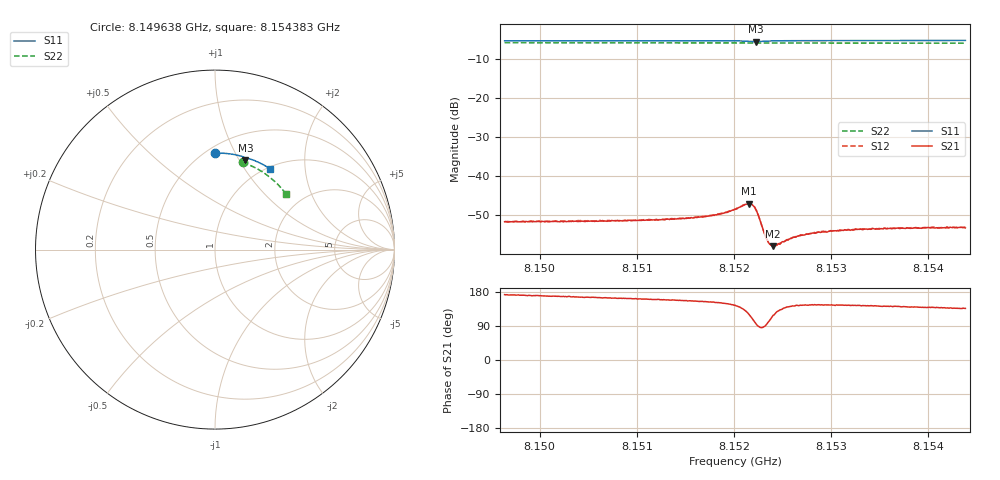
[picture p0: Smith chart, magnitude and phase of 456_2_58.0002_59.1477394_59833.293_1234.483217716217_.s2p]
#  HZ  S  RI  R  50.00
! Rohde & Schwarz Vector Network Analyzer
! Rohde-Schwarz,ZNB20-2Port,1311601062101988,3.16
! Created: UTC 3/21/2024, 1:10:46 AM
! freq[Hz]  re:S11  im:S11  re:S21  im:S21  re:S12  im:S12  re:S22  im:S22
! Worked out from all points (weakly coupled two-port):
!   401 points, 8.149638 GHz to 8.154383 GHz, reference 50 ohm
!   highest |S21| = -46.97 dB at 8.152153 GHz (marker M1); lowest = -57.8 dB at 8.152402 GHz (marker M2)
!   lowest |S11| = -5.6 dB at 8.152224 GHz (marker M3), VSWR 3.23, Z = 38.5 + j53.1 ohm
!   |S11| at or under -10 dB: nowhere
!   |S22| runs from -6.0 to -5.8 dB; largest |S21 - S12| = 0.00012
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8.1496384e9  -0.00101 0.5378  -0.00261 0.000347  -0.00261 0.000404  0.1552 0.4858
8.1504331e9  0.0544 0.5364  -0.0026 0.000647  -0.00259 0.000705  0.2027 0.4667
8.1512278e9  0.1095 0.529  -0.00261 0.000957  -0.0026 0.00103  0.2478 0.4431
8.1517023e9  0.1429 0.5214  -0.00276 0.00133  -0.00275 0.0014  0.2735 0.4268
8.1518684e9  0.155 0.5175  -0.0029 0.00161  -0.00293 0.00168  0.2821 0.4209
8.1520107e9  0.1659 0.5126  -0.00307 0.0022  -0.00308 0.00226  0.2895 0.4155
8.1521175e9  0.1729 0.5052  -0.00281 0.00335  -0.0028 0.0034  0.2947 0.4112
8.152153e9  0.1734 0.5016  -0.0023 0.00385  -0.00228 0.0039  0.2966 0.4097
8.1521886e9  0.1719 0.4988  -0.00143 0.00409  -0.00138 0.00414  0.298 0.4084
8.1522242e9  0.1692 0.4987  -0.000429 0.00375  -0.000361 0.00378  0.2997 0.4071
8.1522479e9  0.1681 0.5003  2.85e-05 0.00324  5.53e-05 0.00328  0.3008 0.4063
8.1523072e9  0.1705 0.5052  8.08e-05 0.00195  8.57e-05 0.00198  0.3038 0.4044
8.1523428e9  0.1737 0.5067  -0.000171 0.00153  -0.000137 0.00152  0.3056 0.4029
8.1523784e9  0.1769 0.5075  -0.000416 0.00126  -0.000431 0.00128  0.3074 0.4016
8.1524021e9  0.1791 0.5075  -0.000593 0.00114  -0.000541 0.00116  0.3086 0.4005
8.1524496e9  0.1832 0.5074  -0.000847 0.00106  -0.0008 0.00107  0.311 0.3987
8.1526275e9  0.1973 0.5041  -0.00133 0.00101  -0.00135 0.00103  0.3198 0.3913
8.1528054e9  0.2099 0.5  -0.00156 0.00105  -0.00155 0.00108  0.3282 0.384
8.1530189e9  0.2241 0.4943  -0.00164 0.00116  -0.00164 0.00119  0.3381 0.3749
8.1532325e9  0.238 0.4881  -0.00167 0.00121  -0.00169 0.00125  0.3478 0.3655
8.1536002e9  0.2611 0.4769  -0.00168 0.00135  -0.00168 0.00136  0.3638 0.3486
8.154383e9  0.3079 0.4496  -0.00158 0.00152  -0.00159 0.00159  0.395 0.3107
